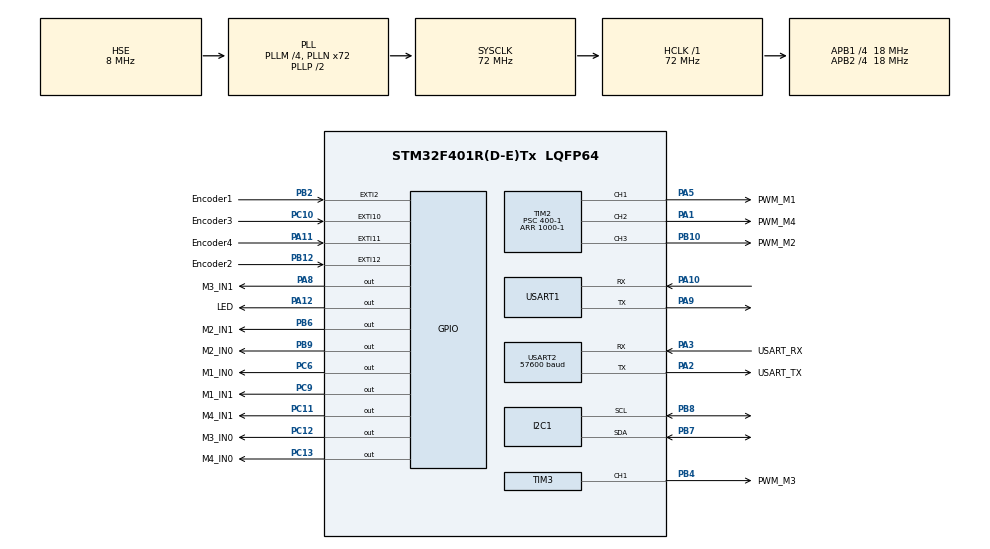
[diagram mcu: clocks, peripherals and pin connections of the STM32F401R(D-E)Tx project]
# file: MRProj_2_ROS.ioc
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Dma.Request0=USART2_RX
Dma.Request1=USART2_TX
Dma.USART2_RX.0.Direction=DMA_PERIPH_TO_MEMORY
Dma.USART2_RX.0.FIFOMode=DMA_FIFOMODE_DISABLE
Dma.USART2_RX.0.Instance=DMA1_Stream5
Dma.USART2_RX.0.MemDataAlignment=DMA_MDATAALIGN_BYTE
Dma.USART2_RX.0.MemInc=DMA_MINC_ENABLE
Dma.USART2_RX.0.Mode=DMA_NORMAL
Dma.USART2_RX.0.PeriphDataAlignment=DMA_PDATAALIGN_BYTE
Dma.USART2_RX.0.PeriphInc=DMA_PINC_DISABLE
Dma.USART2_RX.0.Priority=DMA_PRIORITY_LOW
Dma.USART2_TX.1.Direction=DMA_MEMORY_TO_PERIPH
Dma.USART2_TX.1.FIFOMode=DMA_FIFOMODE_DISABLE
Dma.USART2_TX.1.Instance=DMA1_Stream6
Dma.USART2_TX.1.MemDataAlignment=DMA_MDATAALIGN_BYTE
Dma.USART2_TX.1.MemInc=DMA_MINC_ENABLE
Dma.USART2_TX.1.Mode=DMA_NORMAL
Dma.USART2_TX.1.PeriphDataAlignment=DMA_PDATAALIGN_BYTE
Dma.USART2_TX.1.PeriphInc=DMA_PINC_DISABLE
Dma.USART2_TX.1.Priority=DMA_PRIORITY_LOW
Mcu.Family=STM32F4
Mcu.Name=STM32F401R(D-E)Tx
Mcu.Package=LQFP64
NVIC.DMA1_Stream5_IRQn=true\:0\:0\:false\:false\:true\:false\:true\:true
NVIC.DMA1_Stream6_IRQn=true\:0\:0\:false\:false\:true\:false\:true\:true
NVIC.EXTI2_IRQn=true\:0\:0\:false\:false\:true\:true\:true\:true
NVIC.PriorityGroup=NVIC_PRIORITYGROUP_0
NVIC.TIM2_IRQn=true\:0\:0\:false\:false\:true\:true\:true\:true
NVIC.TIM3_IRQn=true\:0\:0\:false\:false\:true\:true\:true\:true
NVIC.USART2_IRQn=true\:0\:0\:false\:false\:true\:true\:true\:true
PA1.GPIO_Label=PWM_M4
PA1.Signal=S_TIM2_CH2
PA10.Mode=Asynchronous
PA10.Signal=USART1_RX
PA11.GPIO_Label=Encoder4
PA11.Signal=GPXTI11
PA12.GPIO_Label=LED
PA12.GPIO_PuPd=GPIO_PULLDOWN
PA12.Signal=GPIO_Output
PA13.GPIO_Label=TMS
PA13.Mode=Serial_Wire
PA13.Signal=SYS_JTMS-SWDIO
PA14.GPIO_Label=TCK
PA14.Mode=Serial_Wire
PA14.Signal=SYS_JTCK-SWCLK
PA2.GPIO_Label=USART_TX
PA2.GPIO_Mode=GPIO_MODE_AF_PP
PA2.GPIO_PuPd=GPIO_NOPULL
PA2.GPIO_Speed=GPIO_SPEED_FREQ_LOW
PA2.Mode=Asynchronous
PA2.Signal=USART2_TX
PA3.GPIO_Label=USART_RX
PA3.GPIO_Mode=GPIO_MODE_AF_PP
PA3.GPIO_PuPd=GPIO_NOPULL
PA3.GPIO_Speed=GPIO_SPEED_FREQ_LOW
PA3.Mode=Asynchronous
PA3.Signal=USART2_RX
PA5.GPIO_Label=PWM_M1
PA5.Signal=S_TIM2_CH1_ETR
PA8.GPIO_Label=M3_IN1
PA8.Signal=GPIO_Output
PA9.Mode=Asynchronous
PA9.Signal=USART1_TX
PB10.GPIO_Label=PWM_M2
PB10.Signal=S_TIM2_CH3
PB12.GPIO_Label=Encoder2
PB12.Signal=GPXTI12
PB2.GPIO_Label=Encoder1
PB2.Signal=GPXTI2
PB3.GPIO_Label=SWO
PB3.Signal=SYS_JTDO-SWO
PB4.GPIO_Label=PWM_M3
PB4.Signal=S_TIM3_CH1
PB6.GPIO_Label=M2_IN1
PB6.Signal=GPIO_Output
PB7.Mode=I2C
PB7.Signal=I2C1_SDA
PB8.Mode=I2C
PB8.Signal=I2C1_SCL
PB9.GPIO_Label=M2_IN0
PB9.Signal=GPIO_Output
PC10.GPIO_Label=Encoder3
PC10.Signal=GPXTI10
PC11.GPIO_Label=M4_IN1
PC11.Signal=GPIO_Output
PC12.GPIO_Label=M3_IN0
PC12.Signal=GPIO_Output
PC13-ANTI_TAMP.GPIO_Label=M4_IN0
PC13-ANTI_TAMP.Signal=GPIO_Output
PC14-OSC32_IN.Mode=LSE-External-Oscillator
PC14-OSC32_IN.Signal=RCC_OSC32_IN
PC15-OSC32_OUT.Mode=LSE-External-Oscillator
PC15-OSC32_OUT.Signal=RCC_OSC32_OUT
PC6.GPIO_Label=M1_IN0
PC6.Signal=GPIO_Output
PC9.GPIO_Label=M1_IN1
PC9.Signal=GPIO_Output
PH0\ -\ OSC_IN.Mode=HSE-External-Oscillator
PH0\ -\ OSC_IN.Signal=RCC_OSC_IN
PH1\ -\ OSC_OUT.Mode=HSE-External-Oscillator
PH1\ -\ OSC_OUT.Signal=RCC_OSC_OUT
ProjectManager.HeapSize=0x200
ProjectManager.StackSize=0x400
ProjectManager.TargetToolchain=STM32CubeIDE
RCC.48MHZClocksFreq_Value=20571428.57142857
RCC.AHBFreq_Value=72000000
RCC.APB1CLKDivider=RCC_HCLK_DIV4
RCC.APB1Freq_Value=18000000
RCC.APB1TimFreq_Value=36000000
RCC.APB2CLKDivider=RCC_HCLK_DIV4
RCC.APB2Freq_Value=18000000
RCC.APB2TimFreq_Value=36000000
RCC.CortexFreq_Value=72000000
RCC.HCLKFreq_Value=72000000
RCC.HSE_VALUE=8000000
RCC.HSI_VALUE=16000000
RCC.PLLM=4
RCC.PLLN=72
RCC.PLLQ=7
RCC.PLLSourceVirtual=RCC_PLLSOURCE_HSE
RCC.SYSCLKFreq_VALUE=72000000
RCC.SYSCLKSource=RCC_SYSCLKSOURCE_PLLCLK
RCC.VCOOutputFreq_Value=144000000
SH.S_TIM2_CH1_ETR.0=TIM2_CH1,PWM Generation1 CH1
SH.S_TIM2_CH2.0=TIM2_CH2,PWM Generation2 CH2
SH.S_TIM2_CH3.0=TIM2_CH3,PWM Generation3 CH3
SH.S_TIM3_CH1.0=TIM3_CH1,PWM Generation1 CH1
TIM2.Channel-PWM\ Generation1\ CH1=TIM_CHANNEL_1
TIM2.Channel-PWM\ Generation2\ CH2=TIM_CHANNEL_2
TIM2.Channel-PWM\ Generation3\ CH3=TIM_CHANNEL_3
TIM2.Period=1000-1
TIM2.Prescaler=400-1
TIM3.Channel-PWM\ Generation1\ CH1=TIM_CHANNEL_1
TIM3.Period=1000-1
TIM3.Prescaler=400-1
USART1.VirtualMode=VM_ASYNC
USART2.BaudRate=57600
USART2.VirtualMode=VM_ASYNC
VP_TIM2_VS_ClockSourceINT.Mode=Internal
VP_TIM3_VS_ClockSourceINT.Mode=Internal
board=NUCLEO-F401RE

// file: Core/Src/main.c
/* USER CODE BEGIN Header */
/**
  ******************************************************************************
  * @file           : main.c
  * @brief          : Main program body
  ******************************************************************************
  * @attention
  *
  * <h2><center>&copy; Copyright (c) 2023 STMicroelectronics.
  * All rights reserved.</center></h2>
  *
  * This software component is licensed by ST under BSD 3-Clause license,
  * the "License"; You may not use this file except in compliance with the
  * License. You may obtain a copy of the License at:
  *                        opensource.org/licenses/BSD-3-Clause
  *
  ******************************************************************************
  */
/* USER CODE END Header */

#include "main.h"

I2C_HandleTypeDef hi2c1;

TIM_HandleTypeDef htim2;
TIM_HandleTypeDef htim3;

UART_HandleTypeDef huart1;
UART_HandleTypeDef huart2;
DMA_HandleTypeDef hdma_usart2_rx;
DMA_HandleTypeDef hdma_usart2_tx;

void SystemClock_Config(void);
static void MX_GPIO_Init(void);
static void MX_DMA_Init(void);
static void MX_USART2_UART_Init(void);
static void MX_USART1_UART_Init(void);
static void MX_TIM2_Init(void);
static void MX_TIM3_Init(void);
static void MX_I2C1_Init(void);

/* USER CODE BEGIN 0 */

// Prototype implementation
#ifdef __GNUC__
/* With GCC/RAISONANCE, small printf (option LD Linker->Libraries->Small printf
set to 'Yes') calls __io_putchar() */
#define PUTCHAR_PROTOTYPE int __io_putchar(int ch)
#else
#define PUTCHAR_PROTOTYPE int fputc(int ch, FILE *f)
#endif /* __GNUC__ */

/* USER CODE END 0 */

int main(void)
{

  /* MCU Configuration--------------------------------------------------------*/

  /* Reset of all peripherals, Initializes the Flash interface and the Systick. */
  HAL_Init();

  /* Configure the system clock */
  SystemClock_Config();

  /* Initialize all configured peripherals */
  MX_GPIO_Init();
  MX_DMA_Init();
  MX_USART2_UART_Init();
  MX_USART1_UART_Init();
  MX_TIM2_Init();
  MX_TIM3_Init();
  MX_I2C1_Init();
  /* USER CODE BEGIN 2 */

  //PWM M3
	HAL_TIM_PWM_Start(&htim3, TIM_CHANNEL_1); 										//start PWM

	//Motor
	HAL_TIM_PWM_Start(&htim2, TIM_CHANNEL_1); 										//start PWM
	HAL_TIM_PWM_Start(&htim2, TIM_CHANNEL_2); 										//start PWM
	HAL_TIM_PWM_Start(&htim2, TIM_CHANNEL_3); 										//start PWM

  setup();

  /* USER CODE END 2 */

  /* Infinite loop */
  /* USER CODE BEGIN WHILE */
  while (1)
  {
	loop();

    /* USER CODE END WHILE */

  }
}

void SystemClock_Config(void)
{
  RCC_OscInitTypeDef RCC_OscInitStruct = {0};
  RCC_ClkInitTypeDef RCC_ClkInitStruct = {0};

  /** Configure the main internal regulator output voltage
  */
  __HAL_RCC_PWR_CLK_ENABLE();
  __HAL_PWR_VOLTAGESCALING_CONFIG(PWR_REGULATOR_VOLTAGE_SCALE2);
  /** Initializes the CPU, AHB and APB busses clocks
  */
  RCC_OscInitStruct.OscillatorType = RCC_OSCILLATORTYPE_HSE;
  RCC_OscInitStruct.HSEState = RCC_HSE_ON;
  RCC_OscInitStruct.PLL.PLLState = RCC_PLL_ON;
  RCC_OscInitStruct.PLL.PLLSource = RCC_PLLSOURCE_HSE;
  RCC_OscInitStruct.PLL.PLLM = 4;
  RCC_OscInitStruct.PLL.PLLN = 72;
  RCC_OscInitStruct.PLL.PLLP = RCC_PLLP_DIV2;
  RCC_OscInitStruct.PLL.PLLQ = 7;
  if (HAL_RCC_OscConfig(&RCC_OscInitStruct) != HAL_OK)
  {
    Error_Handler();
  }
  /** Initializes the CPU, AHB and APB busses clocks
  */
  RCC_ClkInitStruct.ClockType = RCC_CLOCKTYPE_HCLK|RCC_CLOCKTYPE_SYSCLK
                              |RCC_CLOCKTYPE_PCLK1|RCC_CLOCKTYPE_PCLK2;
  RCC_ClkInitStruct.SYSCLKSource = RCC_SYSCLKSOURCE_PLLCLK;
  RCC_ClkInitStruct.AHBCLKDivider = RCC_SYSCLK_DIV1;
  RCC_ClkInitStruct.APB1CLKDivider = RCC_HCLK_DIV4;
  RCC_ClkInitStruct.APB2CLKDivider = RCC_HCLK_DIV4;

  if (HAL_RCC_ClockConfig(&RCC_ClkInitStruct, FLASH_LATENCY_2) != HAL_OK)
  {
    Error_Handler();
  }
}

static void MX_I2C1_Init(void)
{

  hi2c1.Instance = I2C1;
  hi2c1.Init.ClockSpeed = 100000;
  hi2c1.Init.DutyCycle = I2C_DUTYCYCLE_2;
  hi2c1.Init.OwnAddress1 = 0;
  hi2c1.Init.AddressingMode = I2C_ADDRESSINGMODE_7BIT;
  hi2c1.Init.DualAddressMode = I2C_DUALADDRESS_DISABLE;
  hi2c1.Init.OwnAddress2 = 0;
  hi2c1.Init.GeneralCallMode = I2C_GENERALCALL_DISABLE;
  hi2c1.Init.NoStretchMode = I2C_NOSTRETCH_DISABLE;
  if (HAL_I2C_Init(&hi2c1) != HAL_OK)
  {
    Error_Handler();
  }

}

static void MX_TIM2_Init(void)
{

  TIM_ClockConfigTypeDef sClockSourceConfig = {0};
  TIM_MasterConfigTypeDef sMasterConfig = {0};
  TIM_OC_InitTypeDef sConfigOC = {0};

  htim2.Instance = TIM2;
  htim2.Init.Prescaler = 400-1;
  htim2.Init.CounterMode = TIM_COUNTERMODE_UP;
  htim2.Init.Period = 1000-1;
  htim2.Init.ClockDivision = TIM_CLOCKDIVISION_DIV1;
  htim2.Init.AutoReloadPreload = TIM_AUTORELOAD_PRELOAD_DISABLE;
  if (HAL_TIM_Base_Init(&htim2) != HAL_OK)
  {
    Error_Handler();
  }
  sClockSourceConfig.ClockSource = TIM_CLOCKSOURCE_INTERNAL;
  if (HAL_TIM_ConfigClockSource(&htim2, &sClockSourceConfig) != HAL_OK)
  {
    Error_Handler();
  }
  if (HAL_TIM_PWM_Init(&htim2) != HAL_OK)
  {
    Error_Handler();
  }
  sMasterConfig.MasterOutputTrigger = TIM_TRGO_RESET;
  sMasterConfig.MasterSlaveMode = TIM_MASTERSLAVEMODE_DISABLE;
  if (HAL_TIMEx_MasterConfigSynchronization(&htim2, &sMasterConfig) != HAL_OK)
  {
    Error_Handler();
  }
  sConfigOC.OCMode = TIM_OCMODE_PWM1;
  sConfigOC.Pulse = 0;
  sConfigOC.OCPolarity = TIM_OCPOLARITY_HIGH;
  sConfigOC.OCFastMode = TIM_OCFAST_DISABLE;
  if (HAL_TIM_PWM_ConfigChannel(&htim2, &sConfigOC, TIM_CHANNEL_1) != HAL_OK)
  {
    Error_Handler();
  }
  if (HAL_TIM_PWM_ConfigChannel(&htim2, &sConfigOC, TIM_CHANNEL_2) != HAL_OK)
  {
    Error_Handler();
  }
  if (HAL_TIM_PWM_ConfigChannel(&htim2, &sConfigOC, TIM_CHANNEL_3) != HAL_OK)
  {
    Error_Handler();
  }
  HAL_TIM_MspPostInit(&htim2);

}

static void MX_TIM3_Init(void)
{

  TIM_ClockConfigTypeDef sClockSourceConfig = {0};
  TIM_MasterConfigTypeDef sMasterConfig = {0};
  TIM_OC_InitTypeDef sConfigOC = {0};

  htim3.Instance = TIM3;
  htim3.Init.Prescaler = 400-1;
  htim3.Init.CounterMode = TIM_COUNTERMODE_UP;
  htim3.Init.Period = 1000-1;
  htim3.Init.ClockDivision = TIM_CLOCKDIVISION_DIV1;
  htim3.Init.AutoReloadPreload = TIM_AUTORELOAD_PRELOAD_DISABLE;
  if (HAL_TIM_Base_Init(&htim3) != HAL_OK)
  {
    Error_Handler();
  }
  sClockSourceConfig.ClockSource = TIM_CLOCKSOURCE_INTERNAL;
  if (HAL_TIM_ConfigClockSource(&htim3, &sClockSourceConfig) != HAL_OK)
  {
    Error_Handler();
  }
  if (HAL_TIM_PWM_Init(&htim3) != HAL_OK)
  {
    Error_Handler();
  }
  sMasterConfig.MasterOutputTrigger = TIM_TRGO_RESET;
  sMasterConfig.MasterSlaveMode = TIM_MASTERSLAVEMODE_DISABLE;
  if (HAL_TIMEx_MasterConfigSynchronization(&htim3, &sMasterConfig) != HAL_OK)
  {
    Error_Handler();
  }
  sConfigOC.OCMode = TIM_OCMODE_PWM1;
  sConfigOC.Pulse = 0;
  sConfigOC.OCPolarity = TIM_OCPOLARITY_HIGH;
  sConfigOC.OCFastMode = TIM_OCFAST_DISABLE;
  if (HAL_TIM_PWM_ConfigChannel(&htim3, &sConfigOC, TIM_CHANNEL_1) != HAL_OK)
  {
    Error_Handler();
  }
  HAL_TIM_MspPostInit(&htim3);

}

static void MX_USART1_UART_Init(void)
{

  huart1.Instance = USART1;
  huart1.Init.BaudRate = 115200;
  huart1.Init.WordLength = UART_WORDLENGTH_8B;
  huart1.Init.StopBits = UART_STOPBITS_1;
  huart1.Init.Parity = UART_PARITY_NONE;
  huart1.Init.Mode = UART_MODE_TX_RX;
  huart1.Init.HwFlowCtl = UART_HWCONTROL_NONE;
  huart1.Init.OverSampling = UART_OVERSAMPLING_16;
  if (HAL_UART_Init(&huart1) != HAL_OK)
  {
    Error_Handler();
  }

}

static void MX_USART2_UART_Init(void)
{

  huart2.Instance = USART2;
  huart2.Init.BaudRate = 57600;
  huart2.Init.WordLength = UART_WORDLENGTH_8B;
  huart2.Init.StopBits = UART_STOPBITS_1;
  huart2.Init.Parity = UART_PARITY_NONE;
  huart2.Init.Mode = UART_MODE_TX_RX;
  huart2.Init.HwFlowCtl = UART_HWCONTROL_NONE;
  huart2.Init.OverSampling = UART_OVERSAMPLING_16;
  if (HAL_UART_Init(&huart2) != HAL_OK)
  {
    Error_Handler();
  }

}

static void MX_DMA_Init(void)
{

  /* DMA controller clock enable */
  __HAL_RCC_DMA1_CLK_ENABLE();

  /* DMA interrupt init */
  /* DMA1_Stream5_IRQn interrupt configuration */
  HAL_NVIC_SetPriority(DMA1_Stream5_IRQn, 0, 0);
  HAL_NVIC_EnableIRQ(DMA1_Stream5_IRQn);
  /* DMA1_Stream6_IRQn interrupt configuration */
  HAL_NVIC_SetPriority(DMA1_Stream6_IRQn, 0, 0);
  HAL_NVIC_EnableIRQ(DMA1_Stream6_IRQn);

}

static void MX_GPIO_Init(void)
{
  GPIO_InitTypeDef GPIO_InitStruct = {0};

  /* GPIO Ports Clock Enable */
  __HAL_RCC_GPIOC_CLK_ENABLE();
  __HAL_RCC_GPIOH_CLK_ENABLE();
  __HAL_RCC_GPIOA_CLK_ENABLE();
  __HAL_RCC_GPIOB_CLK_ENABLE();

  /*Configure GPIO pin Output Level */
  HAL_GPIO_WritePin(GPIOC, M4_IN0_Pin|M1_IN0_Pin|M1_IN1_Pin|M4_IN1_Pin
                          |M3_IN0_Pin, GPIO_PIN_RESET);

  /*Configure GPIO pin Output Level */
  HAL_GPIO_WritePin(GPIOA, M3_IN1_Pin|LED_Pin, GPIO_PIN_RESET);

  /*Configure GPIO pin Output Level */
  HAL_GPIO_WritePin(GPIOB, M2_IN1_Pin|M2_IN0_Pin, GPIO_PIN_RESET);

  /*Configure GPIO pins : M4_IN0_Pin M1_IN0_Pin M1_IN1_Pin M4_IN1_Pin
                           M3_IN0_Pin */
  GPIO_InitStruct.Pin = M4_IN0_Pin|M1_IN0_Pin|M1_IN1_Pin|M4_IN1_Pin
                          |M3_IN0_Pin;
  GPIO_InitStruct.Mode = GPIO_MODE_OUTPUT_PP;
  GPIO_InitStruct.Pull = GPIO_NOPULL;
  GPIO_InitStruct.Speed = GPIO_SPEED_FREQ_LOW;
  HAL_GPIO_Init(GPIOC, &GPIO_InitStruct);

  /*Configure GPIO pins : Encoder1_Pin Encoder2_Pin */
  GPIO_InitStruct.Pin = Encoder1_Pin|Encoder2_Pin;
  GPIO_InitStruct.Mode = GPIO_MODE_IT_RISING;
  GPIO_InitStruct.Pull = GPIO_NOPULL;
  HAL_GPIO_Init(GPIOB, &GPIO_InitStruct);

  /*Configure GPIO pin : M3_IN1_Pin */
  GPIO_InitStruct.Pin = M3_IN1_Pin;
  GPIO_InitStruct.Mode = GPIO_MODE_OUTPUT_PP;
  GPIO_InitStruct.Pull = GPIO_NOPULL;
  GPIO_InitStruct.Speed = GPIO_SPEED_FREQ_LOW;
  HAL_GPIO_Init(M3_IN1_GPIO_Port, &GPIO_InitStruct);

  /*Configure GPIO pin : Encoder4_Pin */
  GPIO_InitStruct.Pin = Encoder4_Pin;
  GPIO_InitStruct.Mode = GPIO_MODE_IT_RISING;
  GPIO_InitStruct.Pull = GPIO_NOPULL;
  HAL_GPIO_Init(Encoder4_GPIO_Port, &GPIO_InitStruct);

  /*Configure GPIO pin : LED_Pin */
  GPIO_InitStruct.Pin = LED_Pin;
  GPIO_InitStruct.Mode = GPIO_MODE_OUTPUT_PP;
  GPIO_InitStruct.Pull = GPIO_PULLDOWN;
  GPIO_InitStruct.Speed = GPIO_SPEED_FREQ_LOW;
  HAL_GPIO_Init(LED_GPIO_Port, &GPIO_InitStruct);

  /*Configure GPIO pin : Encoder3_Pin */
  GPIO_InitStruct.Pin = Encoder3_Pin;
  GPIO_InitStruct.Mode = GPIO_MODE_IT_RISING;
  GPIO_InitStruct.Pull = GPIO_NOPULL;
  HAL_GPIO_Init(Encoder3_GPIO_Port, &GPIO_InitStruct);

  /*Configure GPIO pins : M2_IN1_Pin M2_IN0_Pin */
  GPIO_InitStruct.Pin = M2_IN1_Pin|M2_IN0_Pin;
  GPIO_InitStruct.Mode = GPIO_MODE_OUTPUT_PP;
  GPIO_InitStruct.Pull = GPIO_NOPULL;
  GPIO_InitStruct.Speed = GPIO_SPEED_FREQ_LOW;
  HAL_GPIO_Init(GPIOB, &GPIO_InitStruct);

  /* EXTI interrupt init*/
  HAL_NVIC_SetPriority(EXTI2_IRQn, 0, 0);
  HAL_NVIC_EnableIRQ(EXTI2_IRQn);

}

/* USER CODE BEGIN 4 */

//TOF Interrupt
void HAL_GPIO_EXTI_Callback( uint16_t GPIO_Pin)
{
//	if(GPIO_Pin == TOF_Int_Pin){
//		IntCount++;
//	   //This block will be triggered after pin activated.
//	}
//	else
//	{
//		//Do not do anything when else.
//		__NOP();
//	}
}

/**
* @brief Retargets the C library printf function to the USART.
* @param None
* @retval None
*/
PUTCHAR_PROTOTYPE
{
/* Place your implementation of fputc here */
/* e.g. write a character to the USART2 and Loop until the end of transmission */
HAL_UART_Transmit(&huart1, (uint8_t *)&ch, 1, 0xFFFF);
return ch;
}
/* USER CODE END 4 */

void Error_Handler(void)
{
}

/************************ (C) COPYRIGHT STMicroelectronics *****END OF FILE****/
